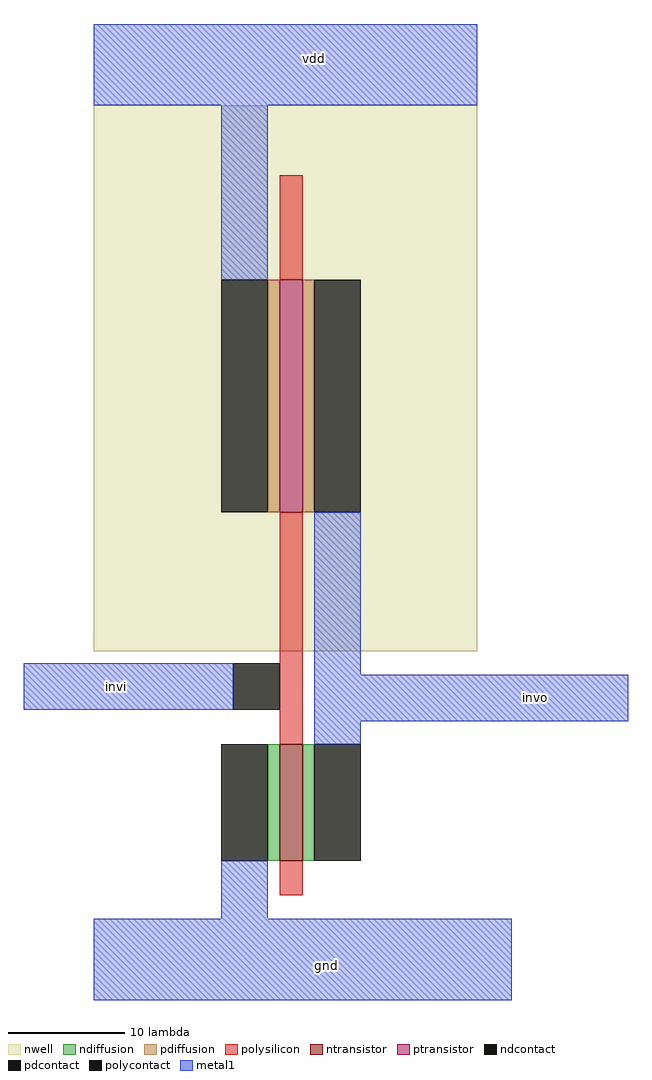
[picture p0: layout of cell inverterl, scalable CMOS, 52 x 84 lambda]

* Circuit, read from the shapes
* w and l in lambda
.subckt inverterl gnd invi invo vdd
M1 invo invi gnd VSUBS nfet w=10 l=2
M2 invo invi vdd n1 pfet w=20 l=2
.ends

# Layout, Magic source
magic
tech scmos
<< nwell >>
rect -17 -22 16 25
<< ntransistor >>
rect -1 -40 1 -30
<< ptransistor >>
rect -1 -10 1 10
<< ndiffusion >>
rect -2 -40 -1 -30
rect 1 -40 2 -30
<< pdiffusion >>
rect -2 -10 -1 10
rect 1 -10 2 10
<< ndcontact >>
rect -6 -40 -2 -30
rect 2 -40 6 -30
<< pdcontact >>
rect -6 -10 -2 10
rect 2 -10 6 10
<< polysilicon >>
rect -1 10 1 19
rect -1 -30 1 -10
rect -1 -43 1 -40
<< polycontact >>
rect -5 -27 -1 -23
<< metal1 >>
rect -17 25 16 32
rect -6 10 -2 25
rect -23 -27 -5 -23
rect 2 -24 6 -10
rect 2 -28 29 -24
rect 2 -30 6 -28
rect -6 -45 -2 -40
rect -17 -52 19 -45
<< labels >>
rlabel metal1 3 -49 3 -49 1 gnd
rlabel metal1 2 29 2 29 5 vdd
rlabel metal1 -15 -25 -15 -25 1 invi
rlabel metal1 21 -26 21 -26 1 invo
<< end >>
